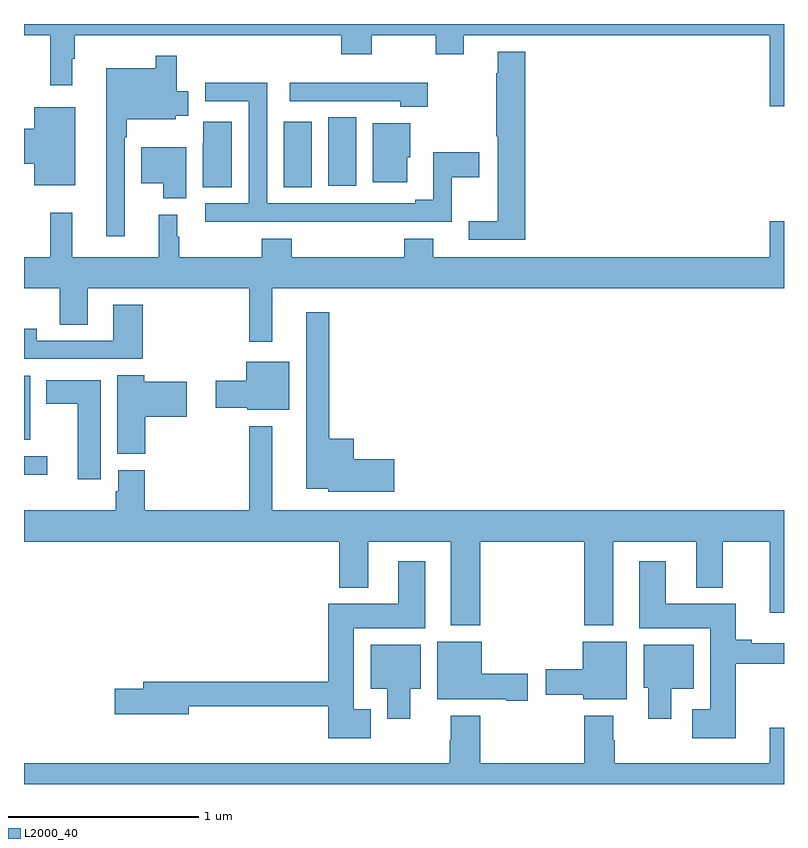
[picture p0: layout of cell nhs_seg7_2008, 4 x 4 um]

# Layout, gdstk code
import gdstk
lib = gdstk.Library(unit=1e-6, precision=1e-09)
def R(c, l, rs):  # rectangles x0, y0, x1, y1
    for r in rs: c.add(gdstk.rectangle(r[:2], r[2:], *l))
def P(c, l, *ps):  # polygons
    for p in ps: c.add(gdstk.Polygon(p, *l))
L2000_40 = (2000, 40)

nhs_seg7_2008 = lib.new_cell('nhs_seg7_2008')
R(nhs_seg7_2008, L2000_40, [(245,1007.627,245.122,1007.724), (245,1007.813,245.032,1008.148), (246.368,1009.141,246.514,1009.486), (246.602,1009.149,246.748,1009.508)])
P(nhs_seg7_2008, L2000_40, [(249,1010),(245,1010),(245,1009.94),(245.137,1009.94),(245.137,1009.677),(245.254,1009.677),(245.254,1009.817),(245.266,1009.817),(245.266,1009.94),(246.671,1009.94),(246.671,1009.841),(246.831,1009.841),(246.831,1009.94),(247.168,1009.94),(247.168,1009.841),(247.315,1009.841),(247.315,1009.94),(248.924,1009.94),(248.924,1009.566),(249,1009.566)],
  [(247.637,1009.855),(247.493,1009.855),(247.493,1009.742),(247.486,1009.742),(247.486,1009.408),(247.493,1009.408),(247.493,1008.963),(247.341,1008.963),(247.341,1008.864),(247.637,1008.864)],
  [(245.529,1009.403),(245.542,1009.403),(245.542,1009.499),(245.799,1009.499),(245.799,1009.517),(245.865,1009.517),(245.865,1009.647),(245.803,1009.647),(245.803,1009.834),(245.694,1009.834),(245.694,1009.768),(245.432,1009.768),(245.432,1008.882),(245.529,1008.882)],
  [(246.176,1008.96),(246.493,1008.96),(246.493,1008.959),(246.917,1008.959),(246.917,1008.96),(247.251,1008.96),(247.251,1009.193),(247.396,1009.193),(247.396,1009.325),(247.154,1009.325),(247.154,1009.076),(247.058,1009.076),(247.058,1009.056),(246.279,1009.056),(246.279,1009.692),(245.955,1009.692),(245.955,1009.593),(246.183,1009.593),(246.183,1009.056),(245.955,1009.056),(245.955,1008.959),(246.176,1008.959)],
  [(247.126,1009.69),(246.399,1009.69),(246.399,1009.593),(246.981,1009.593),(246.981,1009.565),(247.126,1009.565)],
  [(245.269,1009.561),(245.054,1009.561),(245.054,1009.448),(245,1009.448),(245,1009.265),(245.054,1009.265),(245.054,1009.151),(245.269,1009.151)],
  [(246.094,1009.486),(245.943,1009.486),(245.943,1009.373),(245.942,1009.373),(245.942,1009.141),(246.094,1009.141)],
  [(247.018,1009.299),(247.033,1009.299),(247.033,1009.477),(246.836,1009.477),(246.836,1009.166),(247.018,1009.166)],
  [(245.854,1009.351),(245.618,1009.351),(245.618,1009.163),(245.732,1009.163),(245.732,1009.082),(245.854,1009.082)],
  [(246.307,1008.608),(249,1008.608),(249,1008.961),(248.924,1008.961),(248.924,1008.772),(247.153,1008.772),(247.153,1008.871),(247.001,1008.871),(247.001,1008.772),(246.41,1008.772),(246.41,1008.871),(246.25,1008.871),(246.25,1008.772),(245.818,1008.772),(245.818,1008.879),(245.806,1008.879),(245.806,1008.997),(245.708,1008.997),(245.708,1008.772),(245.255,1008.772),(245.255,1009.006),(245.137,1009.006),(245.137,1008.772),(245,1008.772),(245,1008.608),(245.188,1008.608),(245.188,1008.418),(245.335,1008.418),(245.335,1008.608),(246.186,1008.608),(246.186,1008.327),(246.307,1008.327)],
  [(245.624,1008.523),(245.471,1008.523),(245.471,1008.333),(245.067,1008.333),(245.067,1008.397),(245,1008.397),(245,1008.237),(245.624,1008.237)],
  [(246.949,1007.708),(246.736,1007.708),(246.736,1007.818),(246.607,1007.818),(246.607,1008.484),(246.485,1008.484),(246.485,1007.555),(246.6,1007.555),(246.6,1007.537),(246.949,1007.537)],
  [(246.397,1008.223),(246.17,1008.223),(246.17,1008.123),(246.009,1008.123),(246.009,1007.981),(246.174,1007.981),(246.174,1007.969),(246.397,1007.969)],
  [(245.639,1007.933),(245.857,1007.933),(245.857,1008.116),(245.634,1008.116),(245.634,1008.152),(245.492,1008.152),(245.492,1007.737),(245.639,1007.737)],
  [(245.404,1008.124),(245.117,1008.124),(245.117,1008.002),(245.282,1008.002),(245.282,1007.604),(245.404,1007.604)],
  [(247.4,1007.276),(247.949,1007.276),(247.949,1006.835),(248.101,1006.835),(248.101,1007.276),(248.537,1007.276),(248.537,1007.033),(248.677,1007.033),(248.677,1007.276),(248.924,1007.276),(248.924,1006.902),(249,1006.902),(249,1007.44),(246.307,1007.44),(246.307,1007.884),(246.186,1007.884),(246.186,1007.44),(245.636,1007.44),(245.636,1007.652),(245.495,1007.652),(245.495,1007.541),(245.483,1007.541),(245.483,1007.44),(245,1007.44),(245,1007.276),(246.659,1007.276),(246.659,1007.033),(246.811,1007.033),(246.811,1007.276),(247.247,1007.276),(247.247,1006.835),(247.4,1006.835)],
  [(248.747,1006.632),(249,1006.632),(249,1006.741),(248.83,1006.741),(248.83,1006.76),(248.747,1006.76),(248.747,1006.948),(248.377,1006.948),(248.377,1007.173),(248.237,1007.173),(248.237,1006.82),(248.612,1006.82),(248.612,1006.393),(248.517,1006.393),(248.517,1006.241),(248.747,1006.241)],
  [(246.826,1006.393),(246.736,1006.393),(246.736,1006.82),(247.111,1006.82),(247.111,1007.173),(246.971,1007.173),(246.971,1006.948),(246.602,1006.948),(246.602,1006.538),(245.627,1006.538),(245.627,1006.502),(245.478,1006.502),(245.478,1006.367),(245.866,1006.367),(245.866,1006.41),(246.602,1006.41),(246.602,1006.241),(246.826,1006.241)],
  [(248.173,1006.75),(247.94,1006.75),(247.94,1006.604),(247.746,1006.604),(247.746,1006.469),(247.944,1006.469),(247.944,1006.445),(248.173,1006.445)],
  [(247.651,1006.58),(247.408,1006.58),(247.408,1006.75),(247.175,1006.75),(247.175,1006.445),(247.538,1006.445),(247.538,1006.438),(247.651,1006.438)],
  [(247.033,1006.502),(247.087,1006.502),(247.087,1006.732),(246.824,1006.732),(246.824,1006.502),(246.911,1006.502),(246.911,1006.344),(247.033,1006.344)],
  [(248.407,1006.502),(248.524,1006.502),(248.524,1006.732),(248.261,1006.732),(248.261,1006.506),(248.285,1006.506),(248.285,1006.344),(248.407,1006.344)],
  [(249,1006.297),(248.924,1006.297),(248.924,1006.108),(248.109,1006.108),(248.109,1006.229),(248.101,1006.229),(248.101,1006.36),(247.949,1006.36),(247.949,1006.108),(247.4,1006.108),(247.4,1006.36),(247.247,1006.36),(247.247,1006.229),(247.24,1006.229),(247.24,1006.108),(245,1006.108),(245,1006),(249,1006)])

lib.write_gds('nhs_seg7_2008.gds')
